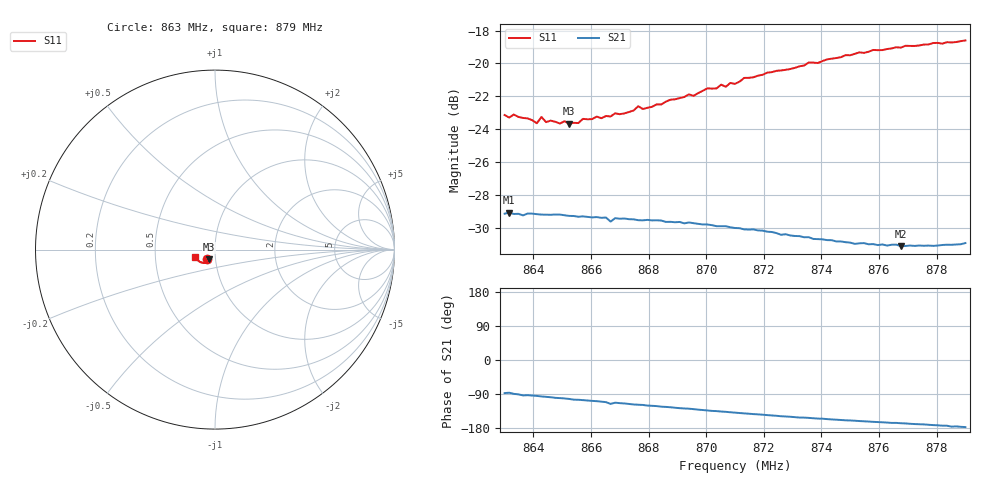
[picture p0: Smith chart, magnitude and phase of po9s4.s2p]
# HZ S RI R 50
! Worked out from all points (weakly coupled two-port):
!   101 points, 863 MHz to 879 MHz, reference 50 ohm
!   highest |S21| = -29.06 dB at 863.16 MHz (marker M1); lowest = -31.1 dB at 876.76 MHz (marker M2)
!   lowest |S11| = -23.7 dB at 865.24 MHz (marker M3), VSWR 1.14, Z = 46.3 - j5.1 ohm
!   |S11| at or under -10 dB: start of sweep to end of sweep
!   S12 and S22 are empty: the file has one direction only
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8.63e8  -0.0448 -0.0535  0.00166 -0.0349  0 0  0 0
8.6316e8  -0.0417 -0.0543  0.00226 -0.0352  0 0  0 0
8.6332e8  -0.0445 -0.054  0.000391 -0.0349  0 0  0 0
8.6412e8  -0.0385 -0.0534  -0.00283 -0.0347  0 0  0 0
8.6428e8  -0.0397 -0.0562  -0.00374 -0.0346  0 0  0 0
8.6444e8  -0.0388 -0.0538  -0.00436 -0.0345  0 0  0 0
8.6524e8  -0.0359 -0.0549  -0.00759 -0.0336  0 0  0 0
8.6572e8  -0.0355 -0.0579  -0.0094 -0.033  0 0  0 0
8.6652e8  -0.0349 -0.0598  -0.0123 -0.0318  0 0  0 0
8.6668e8  -0.0347 -0.0597  -0.0144 -0.0298  0 0  0 0
8.6684e8  -0.0372 -0.06  -0.0131 -0.0313  0 0  0 0
8.6732e8  -0.0349 -0.0621  -0.0148 -0.0303  0 0  0 0
8.6764e8  -0.0366 -0.0645  -0.0157 -0.0295  0 0  0 0
8.678e8  -0.0362 -0.0631  -0.016 -0.0293  0 0  0 0
8.6844e8  -0.0366 -0.0655  -0.0183 -0.0279  0 0  0 0
8.7004e8  -0.0436 -0.0718  -0.0221 -0.0237  0 0  0 0
8.71e8  -0.0482 -0.0721  -0.0239 -0.0208  0 0  0 0
8.7132e8  -0.051 -0.0746  -0.0243 -0.0198  0 0  0 0
8.7372e8  -0.0683 -0.0739  -0.0263 -0.013  0 0  0 0
8.7644e8  -0.092 -0.0622  -0.0273 -0.0068  0 0  0 0
8.7676e8  -0.0952 -0.0585  -0.0271 -0.00631  0 0  0 0
8.79e8  -0.1108 -0.039  -0.0284 -0.00148  0 0  0 0
